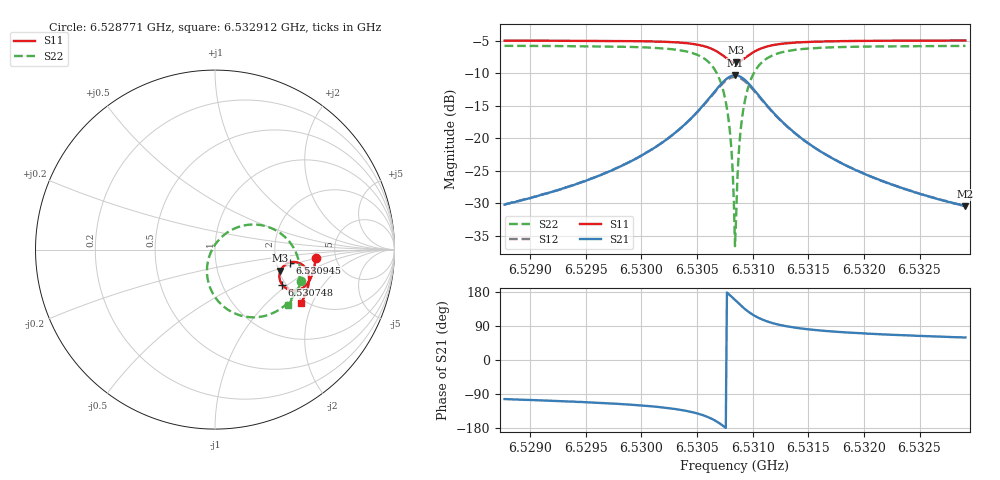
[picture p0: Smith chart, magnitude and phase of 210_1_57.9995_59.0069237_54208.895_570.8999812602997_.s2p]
#  HZ  S  RI  R  50.00
! Rohde & Schwarz Vector Network Analyzer
! Rohde-Schwarz,ZNB20-2Port,1311601062101988,3.16
! Created: UTC 3/21/2024, 12:59:42 AM
! freq[Hz]  re:S11  im:S11  re:S21  im:S21  re:S12  im:S12  re:S22  im:S22
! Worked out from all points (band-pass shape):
!   401 points, 6.528771 GHz to 6.532912 GHz, reference 50 ohm
!   highest |S21| = -10.32 dB at 6.530842 GHz (marker M1); lowest = -30.5 dB at 6.532912 GHz (marker M2)
!   |S21| within 3 dB of the highest: 6.530635 GHz to 6.531049 GHz (414.5 kHz wide, 0.00635 % of centre)
!   lowest |S11| = -8.3 dB at 6.530852 GHz (marker M3), VSWR 2.24, Z = 102 - j28.3 ohm
!   |S11| at or under -10 dB: nowhere
!   |S22| runs from -36.6 to -5.8 dB; largest |S21 - S12| = 0.012
!   S11 on the Smith chart (normalised r, x): 6.528771 GHz: 3.49, -0.50; 6.530748 GHz: 1.91, -0.91; 6.530945 GHz: 2.37, -0.42; 6.532912 GHz: 1.91, -1.66
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6.5287707e9  0.5604 -0.049  -0.00702 -0.0301  -0.00778 -0.0301  0.4819 -0.1755
6.5294644e9  0.5511 -0.1072  -0.0164 -0.043  -0.0175 -0.0426  0.4502 -0.2391
6.5301582e9  0.5242 -0.1765  -0.0498 -0.0737  -0.052 -0.0722  0.3681 -0.3279
6.5303963e9  0.4977 -0.2069  -0.0893 -0.0931  -0.0923 -0.09  0.2874 -0.3669
6.5305723e9  0.4545 -0.227  -0.1573 -0.0996  -0.1596 -0.0932  0.1621 -0.3719
6.5306759e9  0.4097 -0.2223  -0.2264 -0.0733  -0.2257 -0.0638  0.0459 -0.3152
6.5307484e9  0.3746 -0.1954  -0.2773 -0.0151  -0.2716 -0.00516  -0.0289 -0.2076
6.5307898e9  0.3613 -0.1678  -0.293 0.0376  -0.2843 0.0457  -0.0448 -0.1176
6.5308105e9  0.3589 -0.1516  -0.2938 0.0674  -0.2837 0.0738  -0.04 -0.0686
6.5308312e9  0.3599 -0.1347  -0.2884 0.0977  -0.2776 0.1023  -0.0254 -0.02
6.5308416e9  0.3619 -0.1263  -0.2835 0.1123  -0.2725 0.1161  -0.0145 0.00303
6.5308519e9  0.3646 -0.1183  -0.277 0.1265  -0.2661 0.1293  -0.00139 0.025
6.5308623e9  0.3682 -0.1105  -0.2693 0.14  -0.2585 0.1417  0.0139 0.0453
6.530883e9  0.3777 -0.0966  -0.2504 0.1638  -0.2401 0.1639  0.0493 0.0809
6.5308933e9  0.3833 -0.0908  -0.2397 0.174  -0.2299 0.1733  0.0688 0.0955
6.530914e9  0.3958 -0.081  -0.2163 0.1906  -0.2076 0.1887  0.1103 0.1183
6.5309451e9  0.416 -0.0719  -0.1797 0.2061  -0.1728 0.203  0.1735 0.1367
6.5310176e9  0.4588 -0.0713  -0.1048 0.2083  -0.1012 0.2051  0.2992 0.1251
6.5311211e9  0.4964 -0.093  -0.0404 0.1775  -0.0386 0.1758  0.4028 0.0572
6.5315353e9  0.5238 -0.1723  0.0154 0.0858  0.0164 0.0856  0.4727 -0.1346
6.532229e9  0.5062 -0.2438  0.0177 0.0413  0.0184 0.0409  0.4432 -0.2501
6.5329124e9  0.4808 -0.2955  0.0152 0.0258  0.016 0.0256  0.408 -0.3097
